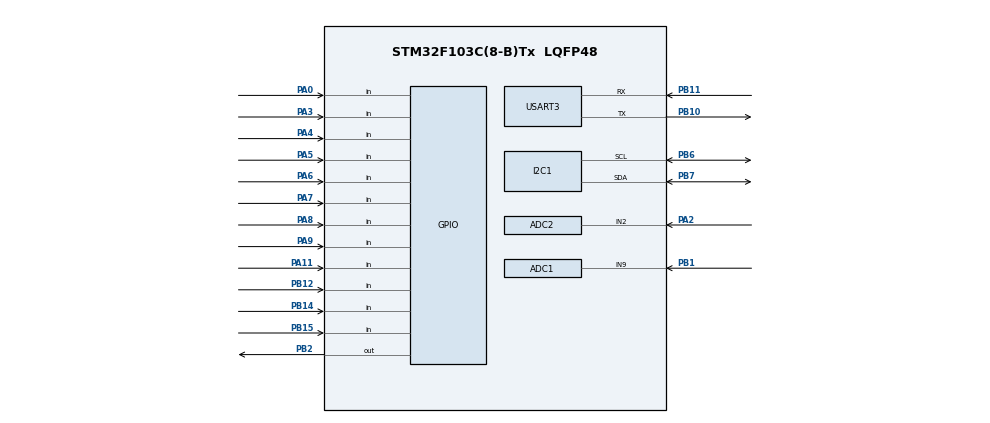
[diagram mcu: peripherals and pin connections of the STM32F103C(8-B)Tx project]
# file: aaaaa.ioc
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ADC1.Channel-0\#ChannelRegularConversion=ADC_CHANNEL_9
ADC1.ContinuousConvMode=ENABLE
ADC1.ExternalTrigConv=ADC_SOFTWARE_START
ADC1.NbrOfConversion=1
ADC1.NbrOfConversionFlag=1
ADC1.Rank-0\#ChannelRegularConversion=1
ADC1.SamplingTime-0\#ChannelRegularConversion=ADC_SAMPLETIME_55CYCLES_5
ADC1.master=1
ADC2.Channel-1\#ChannelRegularConversion=ADC_CHANNEL_2
ADC2.ContinuousConvMode=ENABLE
ADC2.NbrOfConversionFlag=1
ADC2.Rank-1\#ChannelRegularConversion=1
ADC2.SamplingTime-1\#ChannelRegularConversion=ADC_SAMPLETIME_55CYCLES_5
Mcu.Family=STM32F1
Mcu.Name=STM32F103C(8-B)Tx
Mcu.Package=LQFP48
NVIC.PriorityGroup=NVIC_PRIORITYGROUP_4
PA0-WKUP.GPIO_PuPd=GPIO_PULLUP
PA0-WKUP.Signal=GPIO_Input
PA11.GPIO_PuPd=GPIO_PULLUP
PA11.Signal=GPIO_Input
PA13.Mode=Serial_Wire
PA13.Signal=SYS_JTMS-SWDIO
PA14.Mode=Serial_Wire
PA14.Signal=SYS_JTCK-SWCLK
PA2.Signal=ADCx_IN2
PA3.GPIO_PuPd=GPIO_PULLUP
PA3.Signal=GPIO_Input
PA4.GPIO_PuPd=GPIO_PULLUP
PA4.Signal=GPIO_Input
PA5.GPIO_PuPd=GPIO_PULLUP
PA5.Signal=GPIO_Input
PA6.GPIO_PuPd=GPIO_PULLUP
PA6.Signal=GPIO_Input
PA7.GPIO_PuPd=GPIO_PULLUP
PA7.Signal=GPIO_Input
PA8.GPIO_PuPd=GPIO_PULLUP
PA8.Signal=GPIO_Input
PA9.GPIO_PuPd=GPIO_PULLUP
PA9.Signal=GPIO_Input
PB1.Signal=ADCx_IN9
PB10.Mode=Asynchronous
PB10.Signal=USART3_TX
PB11.Mode=Asynchronous
PB11.Signal=USART3_RX
PB12.GPIO_PuPd=GPIO_PULLUP
PB12.Signal=GPIO_Input
PB14.GPIO_PuPd=GPIO_PULLUP
PB14.Signal=GPIO_Input
PB15.GPIO_PuPd=GPIO_PULLUP
PB15.Signal=GPIO_Input
PB2.GPIO_PuPd=GPIO_NOPULL
PB2.PinState=GPIO_PIN_RESET
PB2.Signal=GPIO_Output
PB6.Mode=I2C
PB6.Signal=I2C1_SCL
PB7.Mode=I2C
PB7.Signal=I2C1_SDA
ProjectManager.HeapSize=0x200
ProjectManager.StackSize=0x400
ProjectManager.TargetToolchain=MDK-ARM V5.32
RCC.APB1Freq_Value=8000000
RCC.APB2Freq_Value=8000000
SH.ADCx_IN2.0=ADC2_IN2,IN2
SH.ADCx_IN9.0=ADC1_IN9,IN9
USART3.VirtualMode=VM_ASYNC
board=custom

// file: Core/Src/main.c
/* USER CODE BEGIN Header */
/**
  ******************************************************************************
  * @file           : main.c
  * @brief          : Main program body
  ******************************************************************************
  * @attention
  *
  * Copyright (c) 2023 STMicroelectronics.
  * All rights reserved.
  *
  * This software is licensed under terms that can be found in the LICENSE file
  * in the root directory of this software component.
  * If no LICENSE file comes with this software, it is provided AS-IS.
  *
  ******************************************************************************
  */
/* USER CODE END Header */
#include "main.h"

/* USER CODE BEGIN Includes */
#include <string.h>
#include <stdio.h>
/* USER CODE END Includes */

ADC_HandleTypeDef hadc1;
ADC_HandleTypeDef hadc2;

I2C_HandleTypeDef hi2c1;

UART_HandleTypeDef huart3;

/* USER CODE BEGIN PV */
char buffer[50];
uint16_t mode = 0;
uint16_t data1 = 0; // QUAY TRAI
uint16_t data2 = 0; // QUAY PHAI
uint16_t data3 = 0; // len
uint16_t data4 = 0; // xuong
uint16_t data5 = 0; // gap
uint16_t data[2];
uint16_t dem = 0;
uint16_t check = 0; // check nut nhan
uint16_t res = 0;
/* USER CODE END PV */

void SystemClock_Config(void);
static void MX_GPIO_Init(void);
static void MX_USART3_UART_Init(void);
static void MX_ADC1_Init(void);
static void MX_ADC2_Init(void);
static void MX_I2C1_Init(void);

/* USER CODE BEGIN 0 */
//void Doc_ADC_Kenh0()
//{
//	ADC_ChannelConfTypeDef sConfig = {0};
//	sConfig.Channel = ADC_CHANNEL_0;
//  sConfig.Rank = 1;
//  sConfig.SamplingTime = ADC_SAMPLETIME_55CYCLES5_SMPR1ALLCHANNELS;
//  if (HAL_ADC_ConfigChannel(&hadc1, &sConfig) != HAL_OK)
//  {
//    Error_Handler();
//  }
//}
void Doc_ADC_Kenh1()
{
	ADC_ChannelConfTypeDef sConfig = {0};
	sConfig.Channel = ADC_CHANNEL_2;
  sConfig.Rank = 1;
  sConfig.SamplingTime = ADC_SAMPLETIME_55CYCLES5_SMPR1ALLCHANNELS;
  if (HAL_ADC_ConfigChannel(&hadc2, &sConfig) != HAL_OK)
  {
    Error_Handler();
  }
}

void Doc_ADC_Kenh9()
{
	ADC_ChannelConfTypeDef sConfig = {0};
	sConfig.Channel = ADC_CHANNEL_9;
  sConfig.Rank = 1;
  sConfig.SamplingTime = ADC_SAMPLETIME_55CYCLES5_SMPR1ALLCHANNELS;
  if (HAL_ADC_ConfigChannel(&hadc1, &sConfig) != HAL_OK)
  {
    Error_Handler();
  }
}

/* USER CODE END 0 */

int main(void)
{

  /* MCU Configuration--------------------------------------------------------*/

  /* Reset of all peripherals, Initializes the Flash interface and the Systick. */
  HAL_Init();

  /* Configure the system clock */
  SystemClock_Config();

  /* Initialize all configured peripherals */
  MX_GPIO_Init();
  MX_USART3_UART_Init();
  MX_ADC1_Init();
  MX_ADC2_Init();
  MX_I2C1_Init();
  /* USER CODE BEGIN 2 */
 //HAL_ADC_Start_DMA(&hadc1,(uint32_t*)data,2);
  /* USER CODE END 2 */

  /* Infinite loop */
  while (1)
  {

    /* USER CODE BEGIN 3 */
//		Doc_ADC_Kenh0();
//		HAL_ADC_Start(&hadc1);
//		HAL_ADC_PollForConversion(&hadc1,10);
//		data[0] = HAL_ADC_GetValue(&hadc1);
//		HAL_Delay(1);
//
		Doc_ADC_Kenh1();
		HAL_ADC_Start(&hadc2);
		HAL_ADC_PollForConversion(&hadc2,10);
		data[0] = HAL_ADC_GetValue(&hadc2);
		HAL_Delay(2);

		Doc_ADC_Kenh9();
		HAL_ADC_Start(&hadc1);
		HAL_ADC_PollForConversion(&hadc1,10);
		data[1] = HAL_ADC_GetValue(&hadc1);
		HAL_Delay(2);
    if(HAL_GPIO_ReadPin(GPIOA,GPIO_PIN_8) == 0) {
			  res++;
			  check = 1;
		 }
		else{
			 dem = res;
			 if((dem<30000 && dem>2) &&check == 1) {
				 mode++;
				 check = 0;
				 res = 0;
			 }
		}

		if(HAL_GPIO_ReadPin(GPIOB,GPIO_PIN_15) == 0) { // QUAY TRAI
			data1 = 1;
		}
		if(HAL_GPIO_ReadPin(GPIOA,GPIO_PIN_9) == 0) { // QUAY PHAI
			data2 = 1;
		}
		if(HAL_GPIO_ReadPin(GPIOA,GPIO_PIN_3) == 0) { // LEN
			data3 = 1;
		}
		if(HAL_GPIO_ReadPin(GPIOA,GPIO_PIN_6) == 0) { // XUONG
			data4 = 1;
		}
		if(HAL_GPIO_ReadPin(GPIOB,GPIO_PIN_12) == 0&&HAL_GPIO_ReadPin(GPIOB,GPIO_PIN_14) == 1) {
			data5 = 1;
		}
		if(HAL_GPIO_ReadPin(GPIOB,GPIO_PIN_14) == 0 &&HAL_GPIO_ReadPin(GPIOB,GPIO_PIN_12) == 1) {
			data5 = 2;
		}
		snprintf(buffer, sizeof(buffer), "%d,%d,%d,%d,%d,%d,%d,%d,a\n", data[0], data[1],mode,data1,data2,data3,data4,data5); // Chuy?n d?i giá tr? sang chu?i ký t?
	  HAL_UART_Transmit(&huart3,(uint8_t*)buffer, strlen(buffer),1000); // Truy??n chu?i ký t? qua USART1
	  HAL_Delay(2);
		if(HAL_GPIO_ReadPin(GPIOB,GPIO_PIN_15) == 1) {
     	data1 = 0;
		}
		if(HAL_GPIO_ReadPin(GPIOA,GPIO_PIN_9) == 1) {
		  data2 = 0;
		}
		if(HAL_GPIO_ReadPin(GPIOA,GPIO_PIN_3) == 1) {
			data3 = 0;
		}
		if(HAL_GPIO_ReadPin(GPIOA,GPIO_PIN_6) == 1) {
			data4 = 0;
		}
		if(mode%2==0) {
			HAL_GPIO_WritePin(GPIOB,GPIO_PIN_2,0);
		}
		if(mode%2==1) {
			HAL_GPIO_WritePin(GPIOB,GPIO_PIN_2,1);
		}

    }
  /* USER CODE END 3 */
}

void SystemClock_Config(void)
{
  RCC_OscInitTypeDef RCC_OscInitStruct = {0};
  RCC_ClkInitTypeDef RCC_ClkInitStruct = {0};
  RCC_PeriphCLKInitTypeDef PeriphClkInit = {0};

  /** Initializes the RCC Oscillators according to the specified parameters
  * in the RCC_OscInitTypeDef structure.
  */
  RCC_OscInitStruct.OscillatorType = RCC_OSCILLATORTYPE_HSI;
  RCC_OscInitStruct.HSIState = RCC_HSI_ON;
  RCC_OscInitStruct.HSICalibrationValue = RCC_HSICALIBRATION_DEFAULT;
  RCC_OscInitStruct.PLL.PLLState = RCC_PLL_NONE;
  if (HAL_RCC_OscConfig(&RCC_OscInitStruct) != HAL_OK)
  {
    Error_Handler();
  }

  /** Initializes the CPU, AHB and APB buses clocks
  */
  RCC_ClkInitStruct.ClockType = RCC_CLOCKTYPE_HCLK|RCC_CLOCKTYPE_SYSCLK
                              |RCC_CLOCKTYPE_PCLK1|RCC_CLOCKTYPE_PCLK2;
  RCC_ClkInitStruct.SYSCLKSource = RCC_SYSCLKSOURCE_HSI;
  RCC_ClkInitStruct.AHBCLKDivider = RCC_SYSCLK_DIV1;
  RCC_ClkInitStruct.APB1CLKDivider = RCC_HCLK_DIV1;
  RCC_ClkInitStruct.APB2CLKDivider = RCC_HCLK_DIV1;

  if (HAL_RCC_ClockConfig(&RCC_ClkInitStruct, FLASH_LATENCY_0) != HAL_OK)
  {
    Error_Handler();
  }
  PeriphClkInit.PeriphClockSelection = RCC_PERIPHCLK_ADC;
  PeriphClkInit.AdcClockSelection = RCC_ADCPCLK2_DIV2;
  if (HAL_RCCEx_PeriphCLKConfig(&PeriphClkInit) != HAL_OK)
  {
    Error_Handler();
  }
}

static void MX_ADC1_Init(void)
{

  ADC_ChannelConfTypeDef sConfig = {0};

  /** Common config
  */
  hadc1.Instance = ADC1;
  hadc1.Init.ScanConvMode = ADC_SCAN_DISABLE;
  hadc1.Init.ContinuousConvMode = ENABLE;
  hadc1.Init.DiscontinuousConvMode = DISABLE;
  hadc1.Init.ExternalTrigConv = ADC_SOFTWARE_START;
  hadc1.Init.DataAlign = ADC_DATAALIGN_RIGHT;
  hadc1.Init.NbrOfConversion = 1;
  if (HAL_ADC_Init(&hadc1) != HAL_OK)
  {
    Error_Handler();
  }

  /** Configure Regular Channel
  */
  sConfig.Channel = ADC_CHANNEL_9;
  sConfig.Rank = ADC_REGULAR_RANK_1;
  sConfig.SamplingTime = ADC_SAMPLETIME_55CYCLES_5;
  if (HAL_ADC_ConfigChannel(&hadc1, &sConfig) != HAL_OK)
  {
    Error_Handler();
  }

}

static void MX_ADC2_Init(void)
{

  ADC_ChannelConfTypeDef sConfig = {0};

  /** Common config
  */
  hadc2.Instance = ADC2;
  hadc2.Init.ScanConvMode = ADC_SCAN_DISABLE;
  hadc2.Init.ContinuousConvMode = ENABLE;
  hadc2.Init.DiscontinuousConvMode = DISABLE;
  hadc2.Init.ExternalTrigConv = ADC_SOFTWARE_START;
  hadc2.Init.DataAlign = ADC_DATAALIGN_RIGHT;
  hadc2.Init.NbrOfConversion = 1;
  if (HAL_ADC_Init(&hadc2) != HAL_OK)
  {
    Error_Handler();
  }

  /** Configure Regular Channel
  */
  sConfig.Channel = ADC_CHANNEL_2;
  sConfig.Rank = ADC_REGULAR_RANK_1;
  sConfig.SamplingTime = ADC_SAMPLETIME_55CYCLES_5;
  if (HAL_ADC_ConfigChannel(&hadc2, &sConfig) != HAL_OK)
  {
    Error_Handler();
  }

}

static void MX_I2C1_Init(void)
{

  hi2c1.Instance = I2C1;
  hi2c1.Init.ClockSpeed = 100000;
  hi2c1.Init.DutyCycle = I2C_DUTYCYCLE_2;
  hi2c1.Init.OwnAddress1 = 0;
  hi2c1.Init.AddressingMode = I2C_ADDRESSINGMODE_7BIT;
  hi2c1.Init.DualAddressMode = I2C_DUALADDRESS_DISABLE;
  hi2c1.Init.OwnAddress2 = 0;
  hi2c1.Init.GeneralCallMode = I2C_GENERALCALL_DISABLE;
  hi2c1.Init.NoStretchMode = I2C_NOSTRETCH_DISABLE;
  if (HAL_I2C_Init(&hi2c1) != HAL_OK)
  {
    Error_Handler();
  }

}

static void MX_USART3_UART_Init(void)
{

  huart3.Instance = USART3;
  huart3.Init.BaudRate = 115200;
  huart3.Init.WordLength = UART_WORDLENGTH_8B;
  huart3.Init.StopBits = UART_STOPBITS_1;
  huart3.Init.Parity = UART_PARITY_NONE;
  huart3.Init.Mode = UART_MODE_TX_RX;
  huart3.Init.HwFlowCtl = UART_HWCONTROL_NONE;
  huart3.Init.OverSampling = UART_OVERSAMPLING_16;
  if (HAL_UART_Init(&huart3) != HAL_OK)
  {
    Error_Handler();
  }

}

static void MX_GPIO_Init(void)
{
  GPIO_InitTypeDef GPIO_InitStruct = {0};

  /* GPIO Ports Clock Enable */
  __HAL_RCC_GPIOA_CLK_ENABLE();
  __HAL_RCC_GPIOB_CLK_ENABLE();

  /*Configure GPIO pin Output Level */
  HAL_GPIO_WritePin(GPIOB, GPIO_PIN_2, GPIO_PIN_RESET);

  /*Configure GPIO pins : PA0 PA3 PA4 PA5
                           PA6 PA7 PA8 PA9
                           PA11 */
  GPIO_InitStruct.Pin = GPIO_PIN_0|GPIO_PIN_3|GPIO_PIN_4|GPIO_PIN_5
                          |GPIO_PIN_6|GPIO_PIN_7|GPIO_PIN_8|GPIO_PIN_9
                          |GPIO_PIN_11;
  GPIO_InitStruct.Mode = GPIO_MODE_INPUT;
  GPIO_InitStruct.Pull = GPIO_PULLUP;
  HAL_GPIO_Init(GPIOA, &GPIO_InitStruct);

  /*Configure GPIO pin : PB2 */
  GPIO_InitStruct.Pin = GPIO_PIN_2;
  GPIO_InitStruct.Mode = GPIO_MODE_OUTPUT_PP;
  GPIO_InitStruct.Pull = GPIO_NOPULL;
  GPIO_InitStruct.Speed = GPIO_SPEED_FREQ_LOW;
  HAL_GPIO_Init(GPIOB, &GPIO_InitStruct);

  /*Configure GPIO pins : PB12 PB14 PB15 */
  GPIO_InitStruct.Pin = GPIO_PIN_12|GPIO_PIN_14|GPIO_PIN_15;
  GPIO_InitStruct.Mode = GPIO_MODE_INPUT;
  GPIO_InitStruct.Pull = GPIO_PULLUP;
  HAL_GPIO_Init(GPIOB, &GPIO_InitStruct);

}

void Error_Handler(void)
{
  __disable_irq();
  while (1)
  {
  }
}
